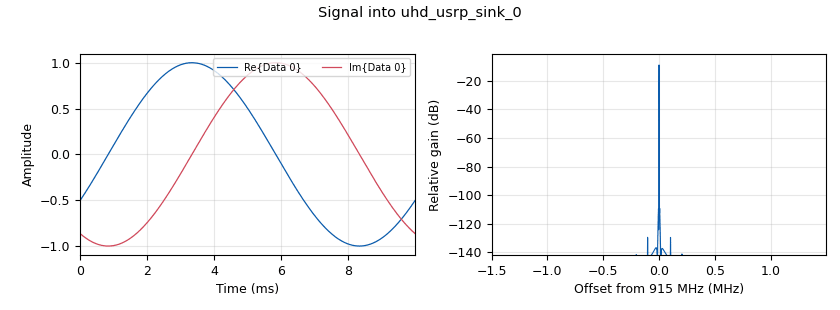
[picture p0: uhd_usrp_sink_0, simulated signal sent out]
options:
  parameters:
    generate_options: no_gui
    id: USRP_Tx
    output_language: python
    title: Not titled yet
  states: {}

blocks:
- name: analog_sig_source_x_0
  id: analog_sig_source_x
  parameters:
    amp: '1'
    freq: fs
    offset: '0'
    phase: '0'
    samp_rate: samp_rate
    type: complex
    waveform: analog.GR_COS_WAVE
  states: {}
- name: fc
  id: parameter
  parameters:
    label: Center Frequency
    short_id: c
    type: eng_float
    value: 915e6
  states: {}
- name: fs
  id: parameter
  parameters:
    label: Signal Frequency
    short_id: f
    type: eng_float
    value: '100'
  states: {}
- name: node
  id: parameter
  parameters:
    label: Node Number
    short_id: n
    type: str
    value: '175'
  states: {}
- name: samp_rate
  id: parameter
  parameters:
    label: Sample Rate
    short_id: r
    type: eng_float
    value: 3e6
  states: {}
- name: tx_gain
  id: parameter
  parameters:
    label: Transmission Gain
    short_id: g
    type: eng_float
    value: '40'
  states: {}
- name: uhd_usrp_sink_0
  id: uhd_usrp_sink
  parameters:
    ant0: '"TX/RX"'
    center_freq0: fc
    gain0: tx_gain
    samp_rate: samp_rate
    sync: sync
    type: fc32
  states: {}

connections:
- [analog_sig_source_x_0, '0', uhd_usrp_sink_0, '0']

metadata:
  file_format: 1
  grc_version: 3.10.12.0
